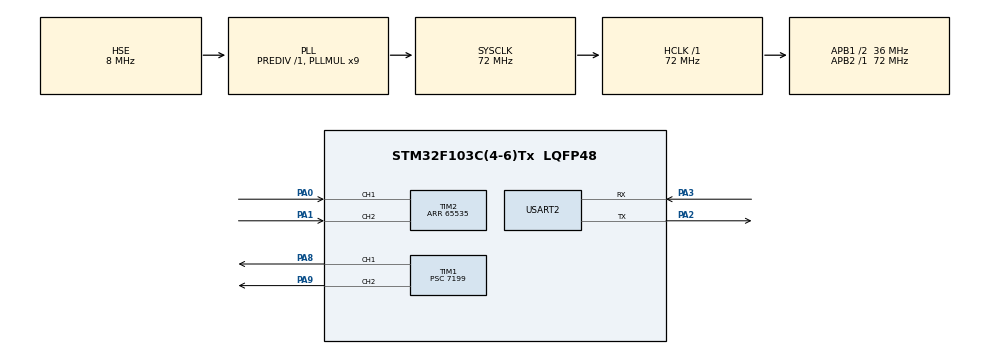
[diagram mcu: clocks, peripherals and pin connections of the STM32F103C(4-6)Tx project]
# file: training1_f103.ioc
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Mcu.Family=STM32F1
Mcu.Name=STM32F103C(4-6)Tx
Mcu.Package=LQFP48
NVIC.PriorityGroup=NVIC_PRIORITYGROUP_4
NVIC.USART2_IRQn=true\:0\:0\:false\:false\:true\:true\:true
PA0-WKUP.Signal=S_TIM2_CH1_ETR
PA1.Signal=S_TIM2_CH2
PA2.Mode=Asynchronous
PA2.Signal=USART2_TX
PA3.Mode=Asynchronous
PA3.Signal=USART2_RX
PA8.Signal=S_TIM1_CH1
PA9.Signal=S_TIM1_CH2
PD0-OSC_IN.Mode=HSE-External-Oscillator
PD0-OSC_IN.Signal=RCC_OSC_IN
PD1-OSC_OUT.Mode=HSE-External-Oscillator
PD1-OSC_OUT.Signal=RCC_OSC_OUT
ProjectManager.HeapSize=0x200
ProjectManager.StackSize=0x400
ProjectManager.TargetToolchain=MDK-ARM V5
RCC.AHBFreq_Value=72000000
RCC.APB1CLKDivider=RCC_HCLK_DIV2
RCC.APB1Freq_Value=36000000
RCC.APB1TimFreq_Value=72000000
RCC.APB2Freq_Value=72000000
RCC.APB2TimFreq_Value=72000000
RCC.HCLKFreq_Value=72000000
RCC.PLLMUL=RCC_PLL_MUL9
RCC.PLLSourceVirtual=RCC_PLLSOURCE_HSE
RCC.SYSCLKFreq_VALUE=72000000
RCC.SYSCLKSource=RCC_SYSCLKSOURCE_PLLCLK
RCC.USBFreq_Value=72000000
SH.S_TIM1_CH1.0=TIM1_CH1,PWM Generation1 CH1
SH.S_TIM1_CH2.0=TIM1_CH2,PWM Generation2 CH2
SH.S_TIM2_CH1_ETR.0=TIM2_CH1,Input_Capture1_from_TI1
SH.S_TIM2_CH2.0=TIM2_CH2,Input_Capture2_from_TI2
TIM1.Channel-PWM\ Generation1\ CH1=TIM_CHANNEL_1
TIM1.Channel-PWM\ Generation2\ CH2=TIM_CHANNEL_2
TIM1.Period=499
TIM1.Prescaler=7199
TIM2.Channel-Input_Capture1_from_TI1=TIM_CHANNEL_1
TIM2.Channel-Input_Capture2_from_TI2=TIM_CHANNEL_2
TIM2.CounterMode=TIM_COUNTERMODE_CENTERALIGNED3
TIM2.Period=65535
USART2.VirtualMode=VM_ASYNC
VP_SYS_VS_ND.Mode=No_Debug
board=custom

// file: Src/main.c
/* USER CODE BEGIN Header */
/**
  ******************************************************************************
  * @file           : main.c
  * @brief          : Main program body
  ******************************************************************************
  * @attention
  *
  * <h2><center>&copy; Copyright (c) 2021 STMicroelectronics.
  * All rights reserved.</center></h2>
  *
  * This software component is licensed by ST under BSD 3-Clause license,
  * the "License"; You may not use this file except in compliance with the
  * License. You may obtain a copy of the License at:
  *                        opensource.org/licenses/BSD-3-Clause
  *
  ******************************************************************************
  */
/* USER CODE END Header */

#include "main.h"
#include "tim.h"
#include "usart.h"
#include "gpio.h"

/* USER CODE BEGIN Includes */
#include "hmi.h"
/* USER CODE END Includes */

/* USER CODE BEGIN PV */
uint32_t cnt_temp;   //计数中间量
float pulse;					//脉冲数
float rounds;					//圈数
uint16_t pwm;
unsigned char buf[64];
uint8_t Rx_dat;      //接受到的数据
/* USER CODE END PV */

void SystemClock_Config(void);
/* USER CODE BEGIN PFP */
//读取定时器计数值
uint32_t read_cnt();
void HMISendstart()
{
	HAL_Delay(200);
	HMISendb(0xff);
	HAL_Delay(200);
}
/* USER CODE END PFP */

int main(void)
{
  /* USER CODE BEGIN 1 */
	HAL_TIM_Encoder_Start(&htim2, 1);				//开启编码器
  /* USER CODE END 1 */

  /* MCU Configuration--------------------------------------------------------*/

  /* Reset of all peripherals, Initializes the Flash interface and the Systick. */
  HAL_Init();

  /* USER CODE BEGIN Init */
	HAL_StatusTypeDef HAL_TIM_Encoder_Init(TIM_HandleTypeDef *htim,  TIM_Encoder_InitTypeDef *sConfig);	//编码器初始化
  /* USER CODE END Init */

  /* Configure the system clock */
  SystemClock_Config();

  /* Initialize all configured peripherals */
  MX_GPIO_Init();
  MX_TIM1_Init();
  MX_TIM2_Init();
  MX_USART2_UART_Init();
  /* USER CODE BEGIN 2 */
	HAL_UART_Receive_IT(&huart2,&Rx_dat,1);   //在main中第一次调用中断接收函数
	uint32_t read_cnt();
{
	uint32_t encoder_cnt;
	encoder_cnt = TIM2->CNT;							//读取计数器的值，CNT为uint32_t型变量
	__HAL_TIM_SET_COUNTER(&htim2,0);			//对于与F系列不同的标准库，都用define定义了，在.h里面找
	//每一次读取完计数值后将计数值清零，重新开始累加脉冲，方便下一次计数
	return encoder_cnt;	//返回的值就是本次读到的计数值
}
	HAL_TIM_PWM_Start(&htim1, TIM_CHANNEL_1);
  HAL_TIM_PWM_Start(&htim1, TIM_CHANNEL_2);
	pwm = 100;
  /* USER CODE END 2 */

  /* Infinite loop */
  while (1)
  {

    /* USER CODE BEGIN 3 */
		sprintf((char *)buf,"n0.val=%d",pwm); //强制类型转化，转化为字符串
		HMISends((char *)buf); //发送Ri的数据给page0页面的t3文本控件
		HMISendb(0xff);//结束符

		//printf("page1.n0.val=%d\xff\xff\xff",pwm);
		//printf("page1.n0.val=666\xff\xff\xff");

		//TIM1->CCR1 = pwm;
		//TIM1->CCR2 = pwm;     //给两个电机pwm信号
		cnt_temp = read_cnt();   //读取脉冲计数值
		pulse = cnt_temp/4.0f;		//第三种计数模式，4分频，得到实际脉冲数
		//电机后轴1圈448个脉冲，减速比为1：43.8，所以一圈脉冲数为43.8*448=19622
		rounds = cnt_temp/pulse/19622.0f;   //计算出圈数
		HAL_Delay(1000);

  }
  /* USER CODE END 3 */
}

void SystemClock_Config(void)
{
  RCC_OscInitTypeDef RCC_OscInitStruct = {0};
  RCC_ClkInitTypeDef RCC_ClkInitStruct = {0};

  /** Initializes the CPU, AHB and APB busses clocks
  */
  RCC_OscInitStruct.OscillatorType = RCC_OSCILLATORTYPE_HSE;
  RCC_OscInitStruct.HSEState = RCC_HSE_ON;
  RCC_OscInitStruct.HSEPredivValue = RCC_HSE_PREDIV_DIV1;
  RCC_OscInitStruct.HSIState = RCC_HSI_ON;
  RCC_OscInitStruct.PLL.PLLState = RCC_PLL_ON;
  RCC_OscInitStruct.PLL.PLLSource = RCC_PLLSOURCE_HSE;
  RCC_OscInitStruct.PLL.PLLMUL = RCC_PLL_MUL9;
  if (HAL_RCC_OscConfig(&RCC_OscInitStruct) != HAL_OK)
  {
    Error_Handler();
  }
  /** Initializes the CPU, AHB and APB busses clocks
  */
  RCC_ClkInitStruct.ClockType = RCC_CLOCKTYPE_HCLK|RCC_CLOCKTYPE_SYSCLK
                              |RCC_CLOCKTYPE_PCLK1|RCC_CLOCKTYPE_PCLK2;
  RCC_ClkInitStruct.SYSCLKSource = RCC_SYSCLKSOURCE_PLLCLK;
  RCC_ClkInitStruct.AHBCLKDivider = RCC_SYSCLK_DIV1;
  RCC_ClkInitStruct.APB1CLKDivider = RCC_HCLK_DIV2;
  RCC_ClkInitStruct.APB2CLKDivider = RCC_HCLK_DIV1;

  if (HAL_RCC_ClockConfig(&RCC_ClkInitStruct, FLASH_LATENCY_2) != HAL_OK)
  {
    Error_Handler();
  }
}

void Error_Handler(void)
{
}

/************************ (C) COPYRIGHT STMicroelectronics *****END OF FILE****/
